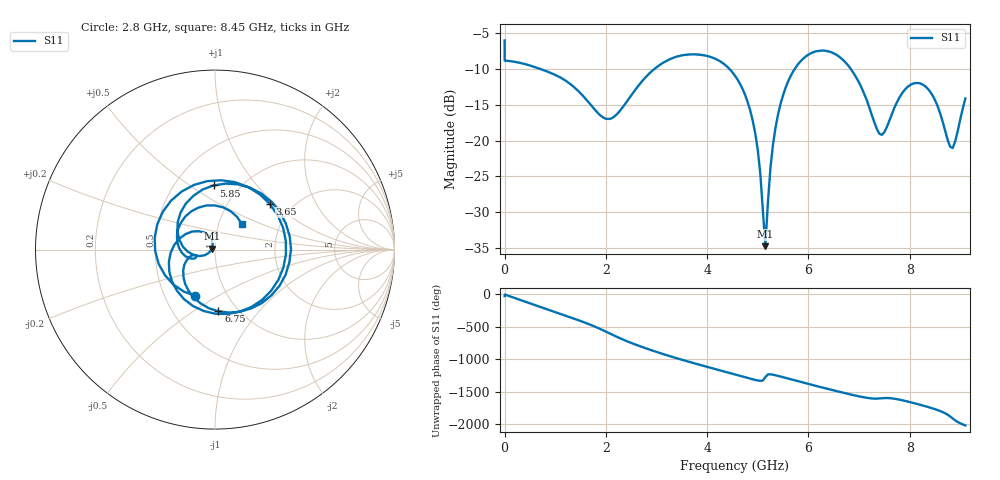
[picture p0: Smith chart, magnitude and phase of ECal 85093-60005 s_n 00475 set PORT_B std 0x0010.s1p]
!Created with skrf (http://scikit-rf.org).
# Hz S RI R 50.0
!freq ReS11 ImS11
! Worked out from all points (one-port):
!   252 points, 30 kHz to 9.1 GHz, reference 50 ohm
!   lowest |S11| = -34.7 dB at 5.15 GHz (marker M1), VSWR 1.04, Z = 48.2 + j0.434 ohm
!   |S11| at or under -10 dB: 692.6 MHz to 2.964 GHz (2.272 GHz wide, 124 % of centre); 4.435 GHz to 5.733 GHz (1.298 GHz wide, 25.5 % of centre); 6.833 GHz to end of sweep
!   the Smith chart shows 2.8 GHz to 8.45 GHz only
!   S11 on the Smith chart (normalised r, x): 2.8 GHz: 0.71, -0.40; 3.65 GHz: 1.54, +0.93; 5.85 GHz: 0.76, +0.63; 6.75 GHz: 0.82, -0.64; 8.45 GHz: 1.28, +0.38
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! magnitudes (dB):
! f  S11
! 30 kHz  -6.1
! 70 kHz  -8.1
! 175 kHz  -8.7
! 1.7 MHz  -8.9
! 1.15 GHz  -11.4
! 1.95 GHz  -16.8
! 2.3 GHz  -15.7
! 2.8 GHz  -11.1
! 3.45 GHz  -8.2
! 3.65 GHz  -8.0
! 4.2 GHz  -8.7
! 4.6 GHz  -11.5
! 4.95 GHz  -19.0
! 5.05 GHz  -24.7
! 5.15 GHz  -34.7
! 5.25 GHz  -23.8
! 5.35 GHz  -18.2
! 5.5 GHz  -13.7
! 5.7 GHz  -10.4
! 5.85 GHz  -8.9
! 6.3 GHz  -7.5
! 6.75 GHz  -9.3
! 6.85 GHz  -10.2
! 7.45 GHz  -19.2
! 8 GHz  -12.3
! 8.45 GHz  -13.7
! 8.85 GHz  -21.0
! 9.1 GHz  -14.1
